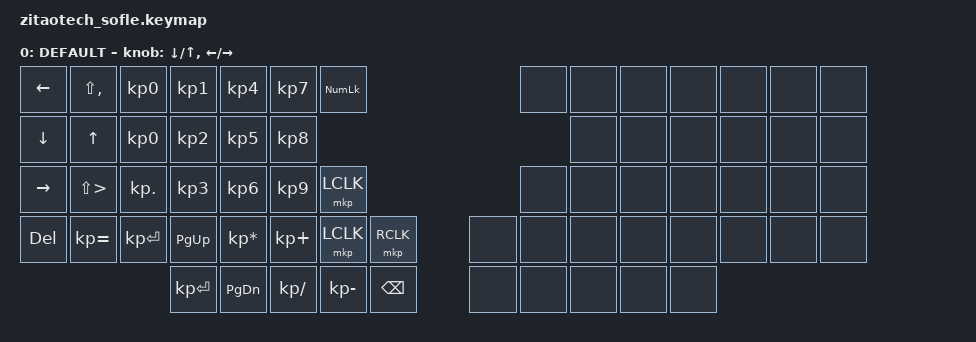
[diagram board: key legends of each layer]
/*
 * Copyright (c) 2025 ZitaoTech
 *
 * SPDX-License-Identifier: MIT
 */

#include <behaviors.dtsi>
#include <dt-bindings/zmk/keys.h>
#include <dt-bindings/zmk/bt.h>
#include <dt-bindings/zmk/outputs.h>
#include <dt-bindings/zmk/mouse.h>
#include <dt-bindings/zmk/backlight.h>
#include <dt-bindings/zmk/ext_power.h>
#include <dt-bindings/zmk/rgb.h>

#define FUNC 1
#define RES 2
#define BOT bootloader

/ {
};

/ {
    behaviors {
        td0: tap_dance_0 {
            compatible = "zmk,behavior-tap-dance";
            #binding-cells = <0>;
            tapping-term-ms = <400>;
            bindings = <&mkp LCLK>, <&bt BT_CLR>;
        };
    };
    behaviors {
        hm: homerow_mods {
            compatible = "zmk,behavior-hold-tap";
            #binding-cells = <2>;
            tapping-term-ms = <500>;
            bindings = <&kp &kp>;
        };
    };

    behaviors {
         sp_sc: behavior_spacescroll {
           compatible = "zmk,behavior-hold-tap";
           #binding-cells = <2>;
           flavor = "tap-preferred";     /* 单击优先 */
           tapping-term-ms = <200>;       /* 长按阈值 */
           bindings = <&none &kp>;        /* hold=none, tap=space */
        };
    };

    behaviors {
        BLE_encoder: BLE_encoder {
            compatible = "zmk,behavior-sensor-rotate";
            #sensor-binding-cells = <0>;
            bindings = <&bt BT_NXT>, <&bt BT_PRV>;
        };
    };

    keymap {
        compatible = "zmk,keymap";

         default_layer {
            display-name = "DEFAULT";
           bindings = <
&kp LEFT    &kp LS(COMMA)   &kp KP_N0      &kp KP_N1    &kp KP_N4      &kp KP_N7     &kp KP_NUMLOCK                      &none          &none       &none      &none     &none    &none    &none            
&kp DOWN    &kp UP          &kp KP_N0      &kp KP_N2    &kp KP_N5      &kp KP_N8                                                            &none        &none       &none      &none     &none      &none
&kp RIGHT   &kp LS(GT)      &kp KP_DOT     &kp KP_N3    &kp KP_N6      &kp KP_N9     &mkp LCLK                     &none                &none        &none      &none      &none     &none &none
&kp DEL     &kp KP_EQUAL    &kp KP_ENTER   &kp PAGE_UP        &kp KP_ASTERISK     &kp KP_PLUS  &mkp LCLK &mkp RCLK         &none   &none  &none        &none       &none  &none   &none  &none
                            &kp KP_ENTER   &kp PAGE_DOWN &kp KP_DIVIDE  &kp KP_MINUS &kp BACKSPACE                        &none                    &none  &none   &none   &none
           >;
           sensor-bindings = <&inc_dec_kp DOWN UP>, <&inc_dec_kp LEFT RIGHT>;
        };
     
    };
};
